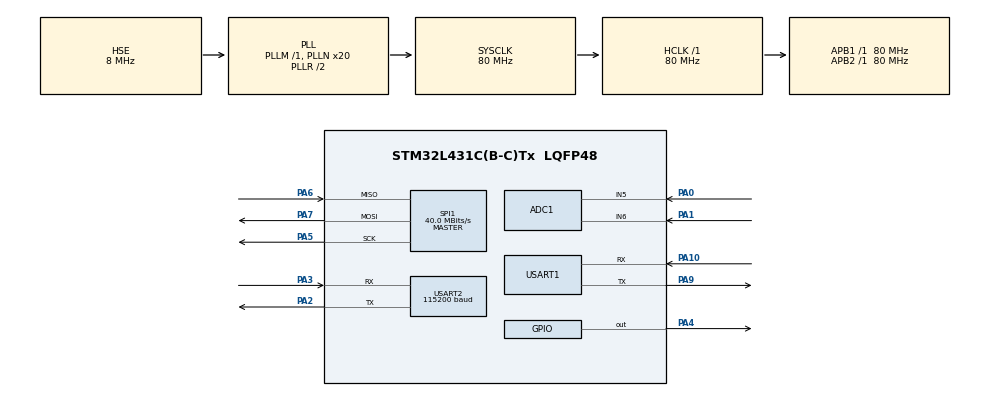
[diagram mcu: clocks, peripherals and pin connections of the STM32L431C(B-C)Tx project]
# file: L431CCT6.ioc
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ADC1.Channel-0\#ChannelRegularConversion=ADC_CHANNEL_5
ADC1.Channel-1\#ChannelRegularConversion=ADC_CHANNEL_6
ADC1.ContinuousConvMode=ENABLE
ADC1.NbrOfConversion=2
ADC1.NbrOfConversionFlag=1
ADC1.OffsetNumber-0\#ChannelRegularConversion=ADC_OFFSET_NONE
ADC1.OffsetNumber-1\#ChannelRegularConversion=ADC_OFFSET_NONE
ADC1.Rank-0\#ChannelRegularConversion=1
ADC1.Rank-1\#ChannelRegularConversion=2
ADC1.SamplingTime-0\#ChannelRegularConversion=ADC_SAMPLETIME_247CYCLES_5
ADC1.SamplingTime-1\#ChannelRegularConversion=ADC_SAMPLETIME_247CYCLES_5
ADC1.master=1
Dma.ADC1.0.Direction=DMA_PERIPH_TO_MEMORY
Dma.ADC1.0.Instance=DMA1_Channel1
Dma.ADC1.0.MemDataAlignment=DMA_MDATAALIGN_HALFWORD
Dma.ADC1.0.MemInc=DMA_MINC_ENABLE
Dma.ADC1.0.Mode=DMA_CIRCULAR
Dma.ADC1.0.PeriphDataAlignment=DMA_PDATAALIGN_HALFWORD
Dma.ADC1.0.PeriphInc=DMA_PINC_DISABLE
Dma.ADC1.0.Priority=DMA_PRIORITY_MEDIUM
Dma.Request0=ADC1
Mcu.Family=STM32L4
Mcu.Name=STM32L431C(B-C)Tx
Mcu.Package=LQFP48
NVIC.DMA1_Channel1_IRQn=true\:0\:0\:false\:false\:true\:false\:true\:true
NVIC.PriorityGroup=NVIC_PRIORITYGROUP_4
PA0.Signal=ADCx_IN5
PA1.Signal=ADCx_IN6
PA10.Mode=Asynchronous
PA10.Signal=USART1_RX
PA13\ (JTMS-SWDIO).Mode=Serial_Wire
PA13\ (JTMS-SWDIO).Signal=SYS_JTMS-SWDIO
PA14\ (JTCK-SWCLK).Mode=Serial_Wire
PA14\ (JTCK-SWCLK).Signal=SYS_JTCK-SWCLK
PA2.Mode=Asynchronous
PA2.Signal=USART2_TX
PA3.Mode=Asynchronous
PA3.Signal=USART2_RX
PA4.Signal=GPIO_Output
PA5.Mode=Full_Duplex_Master
PA5.Signal=SPI1_SCK
PA6.Mode=Full_Duplex_Master
PA6.Signal=SPI1_MISO
PA7.Mode=Full_Duplex_Master
PA7.Signal=SPI1_MOSI
PA9.Mode=Asynchronous
PA9.Signal=USART1_TX
PH0-OSC_IN\ (PH0).Mode=HSE-External-Oscillator
PH0-OSC_IN\ (PH0).Signal=RCC_OSC_IN
PH1-OSC_OUT\ (PH1).Mode=HSE-External-Oscillator
PH1-OSC_OUT\ (PH1).Signal=RCC_OSC_OUT
ProjectManager.HeapSize=0x200
ProjectManager.StackSize=0x400
ProjectManager.TargetToolchain=MDK-ARM V5.32
RCC.ADCFreq_Value=32000000
RCC.AHBFreq_Value=80000000
RCC.APB1Freq_Value=80000000
RCC.APB1TimFreq_Value=80000000
RCC.APB2Freq_Value=80000000
RCC.APB2TimFreq_Value=80000000
RCC.CortexFreq_Value=80000000
RCC.HCLKFreq_Value=80000000
RCC.HSE_VALUE=8000000
RCC.HSI48_VALUE=48000000
RCC.HSI_VALUE=16000000
RCC.LSE_VALUE=32768
RCC.MSI_VALUE=4000000
RCC.PLLN=20
RCC.PLLSourceVirtual=RCC_PLLSOURCE_HSE
RCC.SYSCLKFreq_VALUE=80000000
RCC.SYSCLKSource=RCC_SYSCLKSOURCE_PLLCLK
RCC.VCOOutputFreq_Value=160000000
SH.ADCx_IN5.0=ADC1_IN5,IN5-Single-Ended
SH.ADCx_IN6.0=ADC1_IN6,IN6-Single-Ended
SPI1.CalculateBaudRate=40.0 MBits/s
SPI1.Direction=SPI_DIRECTION_2LINES
SPI1.Mode=SPI_MODE_MASTER
SPI1.VirtualType=VM_MASTER
USART1.VirtualMode-Asynchronous=VM_ASYNC
USART2.BaudRate=115200
USART2.VirtualMode-Asynchronous=VM_ASYNC
board=custom

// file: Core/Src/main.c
/* USER CODE BEGIN Header */
/**
  ******************************************************************************
  * @file           : main.c
  * @brief          : Main program body
  ******************************************************************************
  * @attention
  *
  * Copyright (c) 2026 STMicroelectronics.
  * All rights reserved.
  *
  * This software is licensed under terms that can be found in the LICENSE file
  * in the root directory of this software component.
  * If no LICENSE file comes with this software, it is provided AS-IS.
  *
  ******************************************************************************
  */
/* USER CODE END Header */
#include "main.h"
#include "adc.h"
#include "dma.h"
#include "spi.h"
#include "usart.h"
#include "gpio.h"

/* USER CODE BEGIN Includes */
#include "adc_poll.h"
#include <stdio.h>
#include <string.h>
/* USER CODE END Includes */

/* USER CODE BEGIN PTD */
#define SAMPLE_COUNT 256   // 每通道采集256个点
uint16_t ch1_buf[SAMPLE_COUNT];
uint16_t ch2_buf[SAMPLE_COUNT];

// 重定向 printf 到 USART1（调试串口）
int fputc(int ch, FILE *f)
{
    HAL_UART_Transmit(&huart1, (uint8_t*)&ch, 1, HAL_MAX_DELAY);
    return ch;
}

/* USER CODE END PTD */

/* USER CODE BEGIN PD */
#ifndef ADC_CALIB_OFFSET
#define ADC_CALIB_OFFSET 1
#endif
/* USER CODE END PD */

void SystemClock_Config(void);

/* USER CODE BEGIN 0 */
// 轮流采集两个通道（每次调用采集一对）
void adc_sample_pair(uint16_t *ch1, uint16_t *ch2)
{
    // 采集通道1 (PA0)
    HAL_ADC_Start(&hadc1);
    if (HAL_ADC_PollForConversion(&hadc1, 100) == HAL_OK) {
        *ch1 = HAL_ADC_GetValue(&hadc1);
    } else {
        *ch1 = 0;
    }
    HAL_ADC_Stop(&hadc1);

  // 切换通道到 PA1 (需要重新配置 ADC 通道)
    // 方法：重新配置 Rank 1 的通道为 IN6
    ADC_ChannelConfTypeDef sConfig = {0};
    sConfig.Channel = ADC_CHANNEL_6;   // PA1 对应 ADC1_IN6
    sConfig.Rank = ADC_REGULAR_RANK_1;
    sConfig.SamplingTime = ADC_SAMPLETIME_247CYCLES_5;
    sConfig.SingleDiff = ADC_SINGLE_ENDED;
    sConfig.OffsetNumber = ADC_OFFSET_NONE;
    sConfig.Offset = 0;
    if (HAL_ADC_ConfigChannel(&hadc1, &sConfig) != HAL_OK) {
        // 配置失败处理
    }
    HAL_ADC_Start(&hadc1);
    if (HAL_ADC_PollForConversion(&hadc1, 100) == HAL_OK) {
        *ch2 = HAL_ADC_GetValue(&hadc1);
    } else {
        *ch2 = 0;
    }
    HAL_ADC_Stop(&hadc1);

    // 切回通道1，方便下次采集
    sConfig.Channel = ADC_CHANNEL_5;   // PA0
    HAL_ADC_ConfigChannel(&hadc1, &sConfig);
}
/* USER CODE END 0 */

int main(void)
{

  /* MCU Configuration--------------------------------------------------------*/

  /* Reset of all peripherals, Initializes the Flash interface and the Systick. */
  HAL_Init();

  /* Configure the system clock */
  SystemClock_Config();

  /* Initialize all configured peripherals */
  MX_GPIO_Init();
  MX_DMA_Init();
  MX_ADC1_Init();
  MX_USART1_UART_Init();
  MX_USART2_UART_Init();
  MX_SPI1_Init();
  /* USER CODE BEGIN 2 */

    // 校准 ADC
   HAL_ADCEx_Calibration_Start(&hadc1, ADC_CALIB_OFFSET);

    printf("Dual-channel polling started.\n");

  /* USER CODE END 2 */

  /* Infinite loop */
  /* USER CODE BEGIN WHILE */
  while (1)
  {
// 采集一对数据（ch1, ch2）
    uint16_t ch1, ch2;
    adc_sample_pair(&ch1, &ch2);

    // 立即通过 USART2（蓝牙）发送
    char msg[32];
    sprintf(msg, "%u,%u\n", ch1, ch2);
    HAL_UART_Transmit(&huart2, (uint8_t*)msg, strlen(msg), 100);

    // 可选：通过 USART1 打印调试信息（可注释掉以减少干扰）
    // printf("CH1=%u, CH2=%u\n", ch1, ch2);

    // 采样间隔：控制发送频率（约 4ms 对应 250Hz，可根据需要调整）
    for (volatile int d = 0; d < 8000; d++);
    /* USER CODE END WHILE */

  }
}

void SystemClock_Config(void)
{
  RCC_OscInitTypeDef RCC_OscInitStruct = {0};
  RCC_ClkInitTypeDef RCC_ClkInitStruct = {0};

  /** Configure the main internal regulator output voltage
  */
  if (HAL_PWREx_ControlVoltageScaling(PWR_REGULATOR_VOLTAGE_SCALE1) != HAL_OK)
  {
    Error_Handler();
  }

  /** Initializes the RCC Oscillators according to the specified parameters
  * in the RCC_OscInitTypeDef structure.
  */
  RCC_OscInitStruct.OscillatorType = RCC_OSCILLATORTYPE_HSE;
  RCC_OscInitStruct.HSEState = RCC_HSE_ON;
  RCC_OscInitStruct.PLL.PLLState = RCC_PLL_ON;
  RCC_OscInitStruct.PLL.PLLSource = RCC_PLLSOURCE_HSE;
  RCC_OscInitStruct.PLL.PLLM = 1;
  RCC_OscInitStruct.PLL.PLLN = 20;
  RCC_OscInitStruct.PLL.PLLP = RCC_PLLP_DIV7;
  RCC_OscInitStruct.PLL.PLLQ = RCC_PLLQ_DIV2;
  RCC_OscInitStruct.PLL.PLLR = RCC_PLLR_DIV2;
  if (HAL_RCC_OscConfig(&RCC_OscInitStruct) != HAL_OK)
  {
    Error_Handler();
  }

  /** Initializes the CPU, AHB and APB buses clocks
  */
  RCC_ClkInitStruct.ClockType = RCC_CLOCKTYPE_HCLK|RCC_CLOCKTYPE_SYSCLK
                              |RCC_CLOCKTYPE_PCLK1|RCC_CLOCKTYPE_PCLK2;
  RCC_ClkInitStruct.SYSCLKSource = RCC_SYSCLKSOURCE_PLLCLK;
  RCC_ClkInitStruct.AHBCLKDivider = RCC_SYSCLK_DIV1;
  RCC_ClkInitStruct.APB1CLKDivider = RCC_HCLK_DIV1;
  RCC_ClkInitStruct.APB2CLKDivider = RCC_HCLK_DIV1;

  if (HAL_RCC_ClockConfig(&RCC_ClkInitStruct, FLASH_LATENCY_4) != HAL_OK)
  {
    Error_Handler();
  }
}

void Error_Handler(void)
{
  __disable_irq();
  while (1)
  {
  }
}
